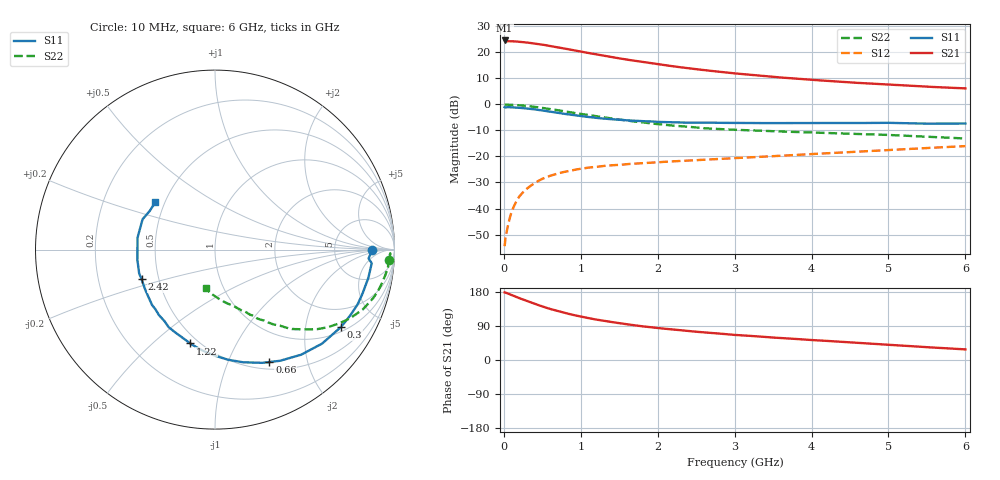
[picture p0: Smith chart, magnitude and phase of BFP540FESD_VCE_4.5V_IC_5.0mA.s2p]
! Infineon Technologies  Discrete & RF Semiconductors
! BFP540FESD
! VCE =  4.5 V,  IC =  5.0 mA
! Common Emitter S-Parameters:  Nov 2015
# GHz  S  MA  R  50
!  f  S11  S21  S12  S22
! GHz  MAG  ANG  MAG  ANG  MAG  ANG  MAG  ANG
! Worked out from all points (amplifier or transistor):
!   210 points, 10 MHz to 6 GHz, reference 50 ohm
!   highest |S21| = 24.4 dB at 10 MHz (marker M1)
!   |S21| within 3 dB of that: start of sweep to 770.4 MHz
!   unconditionally stable (mu >= 1): start of sweep to 10.6 MHz; 2.763 GHz to end of sweep
!   at 185 MHz: K = 0.21, MSG = 30.0 dB, |S12| = -36.1 dB
!   at 1.52 GHz: K = 0.63, MSG = 20.3 dB, |S12| = -23.2 dB
!   at 6 GHz: K = 1.32, MAG = 7.7 dB, |S12| = -16.1 dB
!   S11 on the Smith chart (normalised r, x): 10 MHz: 15, -0; 300 MHz: 1.17, -3.14; 660 MHz: 0.59, -1.43; 1.22 GHz: 0.45, -0.67; 2.42 GHz: 0.40, -0.16; 6 GHz: 0.44, +0.29
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0.01  0.8747 -0.2  16.54 178.5  0.0019 16.8  0.9737 -3.4
0.02  0.8571 -3.3  15.89 178.1  0.0027 42.3  0.9766 -1.2
0.05  0.8764 -5.0  16.02 175.8  0.0044 60.3  0.9701 -2.9
0.15  0.858 -16.5  15.86 167.7  0.0126 72.1  0.959 -8.7
0.2  0.8509 -21.1  15.58 163.3  0.0169 72.3  0.9479 -11.6
0.3  0.8237 -31.6  15.11 155.6  0.024 71.2  0.9214 -17.1
0.4  0.7938 -41.3  14.47 148.2  0.0307 67.0  0.8879 -22.1
0.5  0.757 -50.7  13.79 141.2  0.037 63.1  0.8457 -26.8
0.6  0.7176 -59.7  12.96 134.7  0.0422 59.6  0.8037 -30.8
0.66  0.6955 -64.2  12.51 131.5  0.0451 57.5  0.7797 -32.9
0.8  0.6466 -76.1  11.51 123.7  0.0507 53.4  0.7214 -37.9
0.9  0.6173 -83.4  10.79 118.9  0.0546 51.4  0.6832 -40.6
1.02  0.5852 -91.5  10 113.9  0.0583 49.3  0.6421 -43.7
1.22  0.5407 -104.7  8.824 106.1  0.0632 46.1  0.5789 -48.2
1.56  0.4937 -123.5  7.264 95.4  0.0698 43.0  0.4925 -54.4
1.78  0.4718 -134.0  6.473 89.4  0.0738 41.5  0.4503 -58.4
2.02  0.4551 -144.3  5.765 83.9  0.0772 40.6  0.4104 -61.8
2.42  0.4409 -157.9  4.809 76.0  0.0831 39.6  0.3657 -66.9
3.1  0.4346 -174.2  3.759 65.0  0.0938 39.0  0.318 -74.5
4.1  0.4355 169.7  2.848 51.6  0.1123 38.4  0.2821 -83.5
5.1  0.4338 155.7  2.321 38.9  0.1342 35.3  0.2523 -92.6
6  0.4246 141.7  1.998 28.0  0.1566 31.5  0.2193 -102.6
